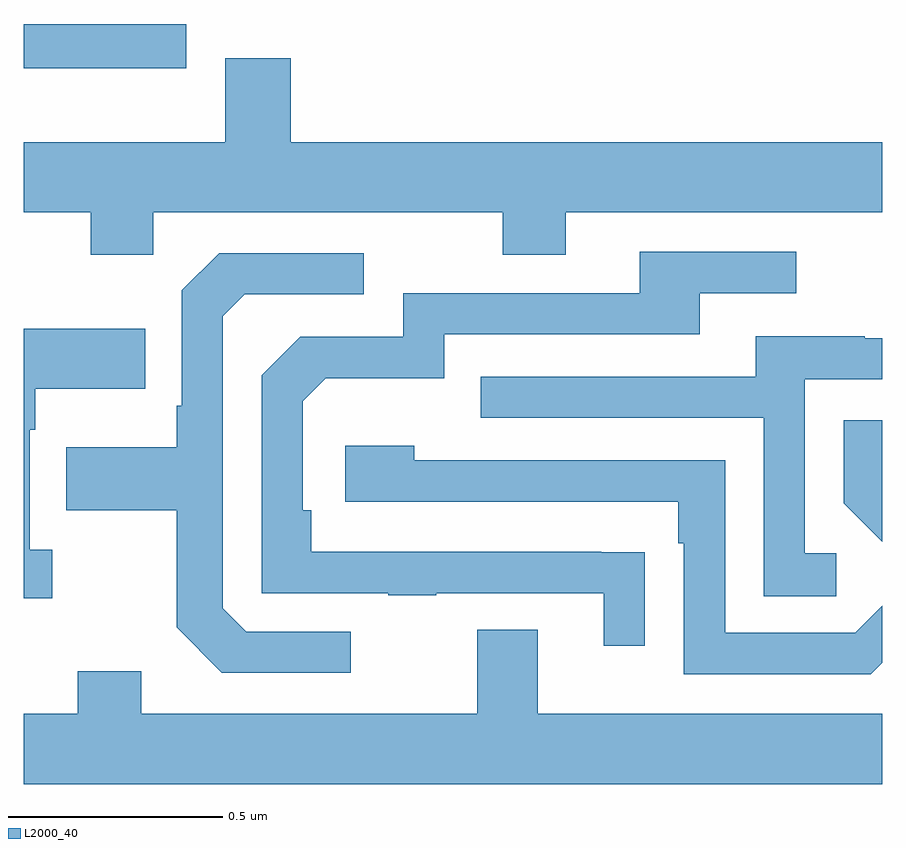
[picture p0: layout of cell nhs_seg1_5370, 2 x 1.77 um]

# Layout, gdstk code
import gdstk
lib = gdstk.Library(unit=1e-6, precision=1e-09)
def R(c, l, rs):  # rectangles x0, y0, x1, y1
    for r in rs: c.add(gdstk.rectangle(r[:2], r[2:], *l))
def P(c, l, *ps):  # polygons
    for p in ps: c.add(gdstk.Polygon(p, *l))
L2000_40 = (2000, 40)

nhs_seg1_5370 = lib.new_cell('nhs_seg1_5370')
R(nhs_seg1_5370, L2000_40, [(178,524.096,178.378,524.199)])
P(nhs_seg1_5370, L2000_40, [(178.302,523.76),(179.116,523.76),(179.116,523.661),(179.263,523.661),(179.263,523.76),(180,523.76),(180,523.924),(178.622,523.924),(178.622,524.119),(178.469,524.119),(178.469,523.924),(178,523.924),(178,523.76),(178.156,523.76),(178.156,523.661),(178.302,523.661)],
  [(179.447,522.968),(179.345,522.968),(179.345,522.969),(178.67,522.969),(178.67,523.066),(178.65,523.066),(178.65,523.32),(178.703,523.373),(178.98,523.373),(178.98,523.476),(179.575,523.476),(179.575,523.572),(179.8,523.572),(179.8,523.668),(179.435,523.668),(179.435,523.572),(178.884,523.572),(178.884,523.47),(178.644,523.47),(178.554,523.38),(178.554,522.873),(178.849,522.873),(178.849,522.868),(178.961,522.868),(178.961,522.873),(179.351,522.873),(179.351,522.75),(179.447,522.75)],
  [(178.762,522.783),(178.518,522.783),(178.464,522.837),(178.464,523.518),(178.515,523.569),(178.792,523.569),(178.792,523.665),(178.455,523.665),(178.368,523.578),(178.368,523.309),(178.356,523.309),(178.356,523.213),(178.099,523.213),(178.099,523.066),(178.356,523.066),(178.356,522.793),(178.461,522.687),(178.762,522.687)],
  [(178.066,522.974),(178.014,522.974),(178.014,523.253),(178.027,523.253),(178.027,523.349),(178.283,523.349),(178.283,523.489),(178,523.489),(178,522.861),(178.066,522.861)],
  [(179.893,522.966),(179.82,522.966),(179.82,523.371),(180,523.371),(180,523.467),(179.959,523.467),(179.959,523.471),(179.705,523.471),(179.705,523.377),(179.065,523.377),(179.065,523.281),(179.724,523.281),(179.724,522.865),(179.893,522.865)],
  [(180,523.276),(179.91,523.276),(179.91,523.082),(180,522.992)],
  [(180,522.711),(180,522.843),(179.937,522.78),(179.634,522.78),(179.634,523.182),(178.91,523.182),(178.91,523.216),(178.749,523.216),(178.749,523.086),(179.525,523.086),(179.525,522.989),(179.538,522.989),(179.538,522.684),(179.973,522.684)],
  [(180,522.592),(179.197,522.592),(179.197,522.787),(179.057,522.787),(179.057,522.592),(178.273,522.592),(178.273,522.691),(178.126,522.691),(178.126,522.592),(178,522.592),(178,522.428),(180,522.428)])

lib.write_gds('nhs_seg1_5370.gds')
